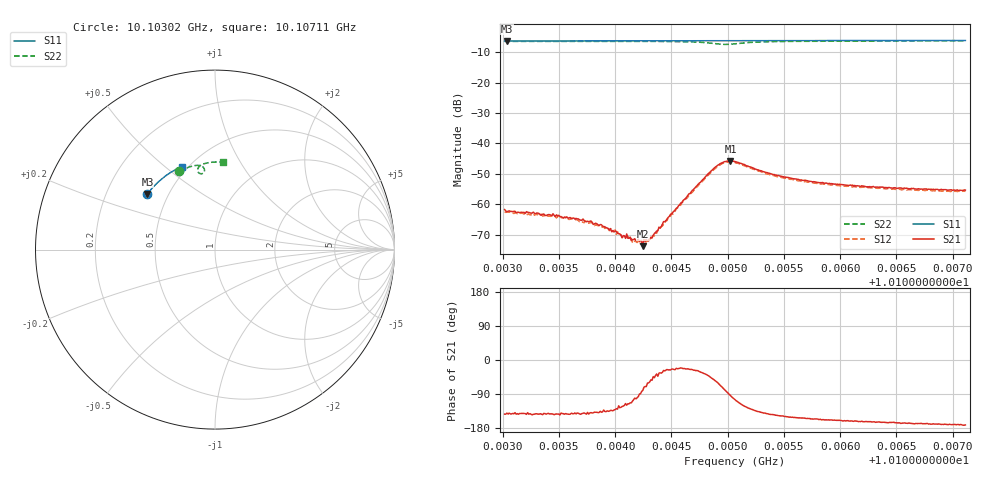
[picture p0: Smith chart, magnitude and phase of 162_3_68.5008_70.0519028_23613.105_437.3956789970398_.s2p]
#  HZ  S  RI  R  50.00
! Rohde & Schwarz Vector Network Analyzer
! Rohde-Schwarz,ZNB20-2Port,1311601062101988,3.16
! Created: UTC 3/20/2024, 5:10:59 PM
! freq[Hz]  re:S11  im:S11  re:S21  im:S21  re:S12  im:S12  re:S22  im:S22
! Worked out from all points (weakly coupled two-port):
!   401 points, 10.10302 GHz to 10.10711 GHz, reference 50 ohm
!   highest |S21| = -45.73 dB at 10.10502 GHz (marker M1); lowest = -73.8 dB at 10.10425 GHz (marker M2)
!   lowest |S11| = -6.2 dB at 10.10304 GHz (marker M3), VSWR 2.91, Z = 19.1 + j15.6 ohm
!   |S11| at or under -10 dB: nowhere
!   |S22| runs from -7.3 to -6.2 dB; largest |S21 - S12| = 0.00052
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1.0103017e10  -0.3773 0.3095  -0.000651 -0.000492  -0.000532 -0.000512  -0.1989 0.437
1.0103038e10  -0.3765 0.3105  -0.000575 -0.000478  -0.000529 -0.000518  -0.1978 0.4377
1.0103468e10  -0.3604 0.331  -0.000504 -0.000378  -0.000452 -0.000424  -0.1715 0.4496
1.010355e10  -0.3571 0.3348  -0.000491 -0.000367  -0.000448 -0.00041  -0.1662 0.452
1.0103703e10  -0.351 0.3418  -0.000423 -0.000336  -0.000368 -0.000359  -0.1565 0.4556
1.0103775e10  -0.3481 0.345  -0.000398 -0.000337  -0.000345 -0.000357  -0.1518 0.4573
1.0103939e10  -0.3414 0.3524  -0.000284 -0.00028  -0.00025 -0.000297  -0.1407 0.4611
1.0104072e10  -0.3357 0.3582  -0.000159 -0.000259  -0.000136 -0.00026  -0.1312 0.4639
1.0104123e10  -0.3336 0.3605  -0.000119 -0.000247  -8.17e-05 -0.000244  -0.1275 0.4648
1.0104174e10  -0.3313 0.3626  -4.98e-05 -0.000265  -4.11e-05 -0.00024  -0.1236 0.4658
1.0104246e10  -0.3281 0.3659  3.51e-05 -0.0002  8.39e-05 -0.000204  -0.1181 0.4669
1.0104308e10  -0.3256 0.3684  0.000143 -0.000226  0.000167 -0.000216  -0.1133 0.468
1.010439e10  -0.3219 0.3718  0.000345 -0.000239  0.000331 -0.000219  -0.1062 0.4689
1.0104666e10  -0.3094 0.3831  0.00136 -0.000639  0.00139 -0.000465  -0.0782 0.4666
1.0104851e10  -0.3008 0.3903  0.00239 -0.00251  0.00253 -0.00214  -0.0588 0.4463
1.0104943e10  -0.2967 0.3936  0.00169 -0.00442  0.00205 -0.00408  -0.0652 0.427
1.0105025e10  -0.293 0.3967  -0.000337 -0.00516  0.000141 -0.00496  -0.0847 0.4239
1.0105066e10  -0.291 0.3983  -0.00128 -0.00489  -0.000805 -0.0048  -0.092 0.4296
1.0105373e10  -0.2764 0.4099  -0.00258 -0.00192  -0.00227 -0.00207  -0.0812 0.4687
1.0105752e10  -0.2576 0.423  -0.00213 -0.000967  -0.00197 -0.00111  -0.0505 0.4811
1.0106438e10  -0.222 0.4447  -0.00182 -0.000501  -0.00169 -0.000607  -0.00195 0.4879
1.0107114e10  -0.1852 0.4627  -0.00169 -0.000253  -0.00158 -0.000391  0.043 0.4882
